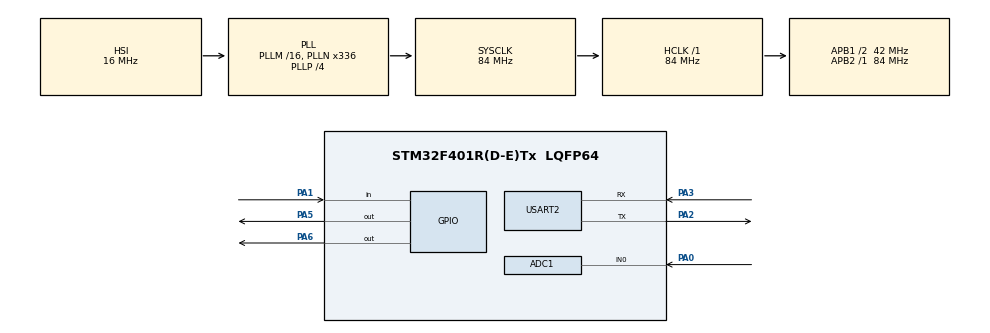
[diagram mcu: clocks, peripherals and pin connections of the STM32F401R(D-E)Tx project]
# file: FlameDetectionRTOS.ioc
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ADC1.Channel-4\#ChannelRegularConversion=ADC_CHANNEL_0
ADC1.ContinuousConvMode=ENABLE
ADC1.NbrOfConversionFlag=1
ADC1.Rank-4\#ChannelRegularConversion=1
ADC1.SamplingTime-4\#ChannelRegularConversion=ADC_SAMPLETIME_480CYCLES
ADC1.master=1
FREERTOS.Tasks01=defaultTask,0,128,StartDefaultTask,Default,NULL,Dynamic,NULL,NULL
FREERTOS.configUSE_DAEMON_TASK_STARTUP_HOOK=1
FREERTOS.configUSE_IDLE_HOOK=1
FREERTOS.configUSE_MALLOC_FAILED_HOOK=1
FREERTOS.configUSE_NEWLIB_REENTRANT=1
FREERTOS.configUSE_TICK_HOOK=1
FREERTOS.configUSE_TIMERS=1
Mcu.Family=STM32F4
Mcu.Name=STM32F401R(D-E)Tx
Mcu.Package=LQFP64
NVIC.ADC_IRQn=true\:5\:0\:false\:false\:true\:true\:true\:true\:true
NVIC.PriorityGroup=NVIC_PRIORITYGROUP_4
PA0-WKUP.Signal=ADCx_IN0
PA1.GPIO_PuPd=GPIO_NOPULL
PA1.Signal=GPIO_Input
PA13.GPIO_Label=TMS
PA13.Mode=Trace_Asynchronous_SW
PA13.Signal=SYS_JTMS-SWDIO
PA14.GPIO_Label=TCK
PA14.Mode=Trace_Asynchronous_SW
PA14.Signal=SYS_JTCK-SWCLK
PA2.Mode=Asynchronous
PA2.Signal=USART2_TX
PA3.Mode=Asynchronous
PA3.Signal=USART2_RX
PA5.GPIO_PuPd=GPIO_NOPULL
PA5.Signal=GPIO_Output
PA6.PinState=GPIO_PIN_RESET
PA6.Signal=GPIO_Output
PB3.GPIO_Label=SWO
PB3.Mode=Trace_Asynchronous_SW
PB3.Signal=SYS_JTDO-SWO
PC14-OSC32_IN.Mode=LSE-External-Oscillator
PC14-OSC32_IN.Signal=RCC_OSC32_IN
PC15-OSC32_OUT.Mode=LSE-External-Oscillator
PC15-OSC32_OUT.Signal=RCC_OSC32_OUT
PH0\ -\ OSC_IN.Mode=HSE-External-Oscillator
PH0\ -\ OSC_IN.Signal=RCC_OSC_IN
PH1\ -\ OSC_OUT.Mode=HSE-External-Oscillator
PH1\ -\ OSC_OUT.Signal=RCC_OSC_OUT
ProjectManager.HeapSize=0x200
ProjectManager.StackSize=0x400
ProjectManager.TargetToolchain=STM32CubeIDE
RCC.48MHZClocksFreq_Value=48000000
RCC.AHBFreq_Value=84000000
RCC.APB1CLKDivider=RCC_HCLK_DIV2
RCC.APB1Freq_Value=42000000
RCC.APB1TimFreq_Value=84000000
RCC.APB2Freq_Value=84000000
RCC.APB2TimFreq_Value=84000000
RCC.CortexFreq_Value=84000000
RCC.HCLKFreq_Value=84000000
RCC.HSE_VALUE=8000000
RCC.HSI_VALUE=16000000
RCC.PLLN=336
RCC.PLLP=RCC_PLLP_DIV4
RCC.PLLQ=7
RCC.SYSCLKFreq_VALUE=84000000
RCC.SYSCLKSource=RCC_SYSCLKSOURCE_PLLCLK
RCC.VCOOutputFreq_Value=336000000
SH.ADCx_IN0.0=ADC1_IN0,IN0
USART2.VirtualMode=VM_ASYNC
VP_FREERTOS_VS_CMSIS_V1.Mode=CMSIS_V1
board=NUCLEO-F401RE

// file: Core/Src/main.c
/* USER CODE BEGIN Header */
/**
  ******************************************************************************
  * @file           : main.c
  * @brief          : Main program body
  ******************************************************************************
  * @attention
  *
  * Copyright (c) 2025 STMicroelectronics.
  * All rights reserved.
  *
  * This software is licensed under terms that can be found in the LICENSE file
  * in the root directory of this software component.
  * If no LICENSE file comes with this software, it is provided AS-IS.
  *
  ******************************************************************************
  */
/* USER CODE END Header */
#include "main.h"
#include "cmsis_os.h"
#include "adc.h"
#include "usart.h"
#include "gpio.h"

/* USER CODE BEGIN Includes */
#include <stdio.h>  // For sprintf
#include <string.h> // For strlen
#include "adc.h"
/* USER CODE END Includes */

/* USER CODE BEGIN PD */
#define FLAME_SENSOR_PIN GPIO_PIN_0
#define FLAME_SENSOR_PORT GPIOA
#define LED_PIN GPIO_PIN_5
#define LED_PORT GPIOA
#define RGB_RED_PIN    GPIO_PIN_6
#define RGB_GREEN_PIN  GPIO_PIN_7
#define RGB_BLUE_PIN   GPIO_PIN_0
#define RGB_RED_PORT   GPIOA
#define RGB_GREEN_PORT GPIOA
#define RGB_BLUE_PORT  GPIOB
#define FLAME_THRESHOLD 2000  // Adjust based on your sensor
/* USER CODE END PD */

/* USER CODE BEGIN PV */
TaskHandle_t xFlameTaskHandle = NULL;
TaskHandle_t xAlertTaskHandle = NULL;
TaskHandle_t xSerialTaskHandle = NULL;
QueueHandle_t xFlameQueue = NULL;
uint16_t adc_value = 0; // To store ADC reading
uint8_t flame_status = 0; // To store flame status (1 = detected, 0 = not detected)
/* USER CODE END PV */

void SystemClock_Config(void);
void MX_FREERTOS_Init(void);
/* USER CODE BEGIN PFP */
void vFlameSensorTask(void *pvParameters);
void vAlertTask(void *pvParameters);
void vSerialTask(void *pvParameters);
/* USER CODE END PFP */

int main(void)
{

  /* MCU Configuration--------------------------------------------------------*/

  /* Reset of all peripherals, Initializes the Flash interface and the Systick. */
  HAL_Init();

  /* Configure the system clock */
  SystemClock_Config();

  /* Initialize all configured peripherals */
  MX_GPIO_Init();
  MX_USART2_UART_Init();
  MX_ADC1_Init();
  /* USER CODE BEGIN 2 */
  // Ensure initial states
  HAL_GPIO_WritePin(LED_PORT, LED_PIN, GPIO_PIN_RESET);
  // Initialize RGB LED to off
  HAL_GPIO_WritePin(RGB_RED_PORT, RGB_RED_PIN, GPIO_PIN_RESET);
  HAL_GPIO_WritePin(RGB_GREEN_PORT, RGB_GREEN_PIN, GPIO_PIN_RESET);
  HAL_GPIO_WritePin(RGB_BLUE_PORT, RGB_BLUE_PIN, GPIO_PIN_RESET);
  /* USER CODE END 2 */

  /* Call init function for freertos objects (in cmsis_os2.c) */
  MX_FREERTOS_Init();

  /* Start scheduler */
  osKernelStart();

  /* We should never get here as control is now taken by the scheduler */

  /* Infinite loop */
  while (1)
  {

  }
}

void SystemClock_Config(void)
{
  RCC_OscInitTypeDef RCC_OscInitStruct = {0};
  RCC_ClkInitTypeDef RCC_ClkInitStruct = {0};

  /** Configure the main internal regulator output voltage
  */
  __HAL_RCC_PWR_CLK_ENABLE();
  __HAL_PWR_VOLTAGESCALING_CONFIG(PWR_REGULATOR_VOLTAGE_SCALE2);

  /** Initializes the RCC Oscillators according to the specified parameters
  * in the RCC_OscInitTypeDef structure.
  */
  RCC_OscInitStruct.OscillatorType = RCC_OSCILLATORTYPE_HSI;
  RCC_OscInitStruct.HSIState = RCC_HSI_ON;
  RCC_OscInitStruct.HSICalibrationValue = RCC_HSICALIBRATION_DEFAULT;
  RCC_OscInitStruct.PLL.PLLState = RCC_PLL_ON;
  RCC_OscInitStruct.PLL.PLLSource = RCC_PLLSOURCE_HSI;
  RCC_OscInitStruct.PLL.PLLM = 16;
  RCC_OscInitStruct.PLL.PLLN = 336;
  RCC_OscInitStruct.PLL.PLLP = RCC_PLLP_DIV4;
  RCC_OscInitStruct.PLL.PLLQ = 7;
  if (HAL_RCC_OscConfig(&RCC_OscInitStruct) != HAL_OK)
  {
    Error_Handler();
  }

  /** Initializes the CPU, AHB and APB buses clocks
  */
  RCC_ClkInitStruct.ClockType = RCC_CLOCKTYPE_HCLK|RCC_CLOCKTYPE_SYSCLK
                              |RCC_CLOCKTYPE_PCLK1|RCC_CLOCKTYPE_PCLK2;
  RCC_ClkInitStruct.SYSCLKSource = RCC_SYSCLKSOURCE_PLLCLK;
  RCC_ClkInitStruct.AHBCLKDivider = RCC_SYSCLK_DIV1;
  RCC_ClkInitStruct.APB1CLKDivider = RCC_HCLK_DIV2;
  RCC_ClkInitStruct.APB2CLKDivider = RCC_HCLK_DIV1;

  if (HAL_RCC_ClockConfig(&RCC_ClkInitStruct, FLASH_LATENCY_2) != HAL_OK)
  {
    Error_Handler();
  }
}

/* USER CODE BEGIN 4 */
// Flame Sensor Task
void vFlameSensorTask(void *pvParameters) {
    for (;;) {
        // Start ADC conversion
        HAL_ADC_Start(&hadc1);
        // Wait for conversion to complete
        if (HAL_ADC_PollForConversion(&hadc1, HAL_MAX_DELAY) == HAL_OK) {
            // Read ADC value
            adc_value = HAL_ADC_GetValue(&hadc1);
            // Check if flame is detected
            flame_status = (adc_value > FLAME_THRESHOLD) ? 1 : 0;
            // Send status to queue
            xQueueOverwrite(xFlameQueue, &flame_status);
        }
        // Delay for 100ms
        vTaskDelay(pdMS_TO_TICKS(100));
  }
}

// Alert Task
void vAlertTask(void *pvParameters) {
  uint8_t flame_status;

  for(;;) {
    xQueuePeek(xFlameQueue, &flame_status, portMAX_DELAY);

    if(flame_status) {
      HAL_GPIO_WritePin(LED_PORT, LED_PIN, GPIO_PIN_SET);
      // Set RGB to Red
      HAL_GPIO_WritePin(RGB_RED_PORT, RGB_RED_PIN, GPIO_PIN_SET);
      HAL_GPIO_WritePin(RGB_GREEN_PORT, RGB_GREEN_PIN, GPIO_PIN_RESET);
      HAL_GPIO_WritePin(RGB_BLUE_PORT, RGB_BLUE_PIN, GPIO_PIN_RESET);
    } else {
      HAL_GPIO_WritePin(LED_PORT, LED_PIN, GPIO_PIN_RESET);
      // Set RGB to Green
      HAL_GPIO_WritePin(RGB_RED_PORT, RGB_RED_PIN, GPIO_PIN_RESET);
      HAL_GPIO_WritePin(RGB_GREEN_PORT, RGB_GREEN_PIN, GPIO_PIN_SET);
      HAL_GPIO_WritePin(RGB_BLUE_PORT, RGB_BLUE_PIN, GPIO_PIN_RESET);
    }
    vTaskDelay(pdMS_TO_TICKS(10));
  }
}

// Serial Task
void vSerialTask(void *pvParameters) {
  uint8_t flame_status;
  char msg[20];

  for(;;) {
    xQueuePeek(xFlameQueue, &flame_status, portMAX_DELAY);

    if(flame_status) {
      sprintf(msg, "FLAME DETECTED!\r\n");
    } else {
      sprintf(msg, "System Normal\r\n");
    }

    HAL_UART_Transmit(&huart2, (uint8_t *)msg, strlen(msg), HAL_MAX_DELAY);
    vTaskDelay(pdMS_TO_TICKS(500));
  }
}
/* USER CODE END 4 */

void Error_Handler(void)
{
  __disable_irq();
  while (1)
  {
  }
}
